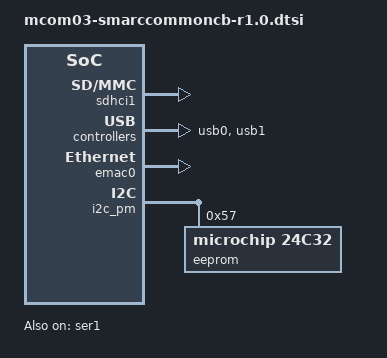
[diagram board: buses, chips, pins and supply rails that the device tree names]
// SPDX-License-Identifier: GPL-2.0+
// Copyright 2024 RnD Center "ELVEES", JSC

/* Connected to MicroSD card */
&sdhci1 {
	status = "okay";

	/* Unstable at 25 MHz */
	max-frequency = <12000000>;

	/* Disable High Speed support
	 * Disable 1.8V support
	 * Disable SDR50, SDR104 and DDR50 support
	 */
	sdhci-caps-mask = <0x7 0x4200000>;
	sdhci-caps = <0x0 0x0>;

	/* SDIO_WP is not connected on Rock Pi N10 */
	disable-wp;

	/* The default clock pad drive strength of 6 mA is insufficient
	 * for some NGFW-CBs resulting in unstable SDMMC performance,
	 * especially at higher CPU temperatures.
	 */
	elvees,drive-strength-clk = <8>;
};

&ser1 {
	status = "okay";
	clock-frequency = <27920454>;
};

&usb0 {
	status = "okay";
};

&usb1 {
	status = "okay";
};

&emac0 {
	status = "okay";
};

&i2c_pm {
	status = "okay";

	eeprom@57 {
		compatible = "microchip,24c32", "atmel,24c32";
		reg = <0x57>;
	};
};
